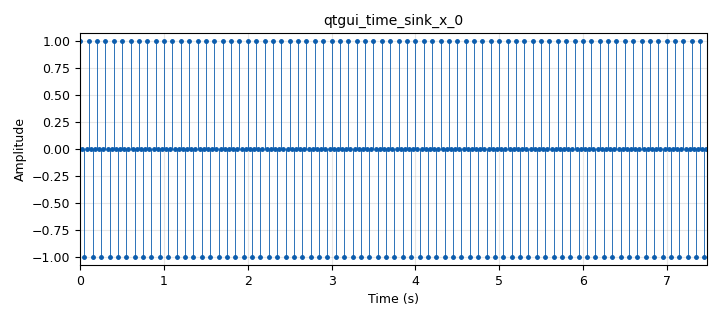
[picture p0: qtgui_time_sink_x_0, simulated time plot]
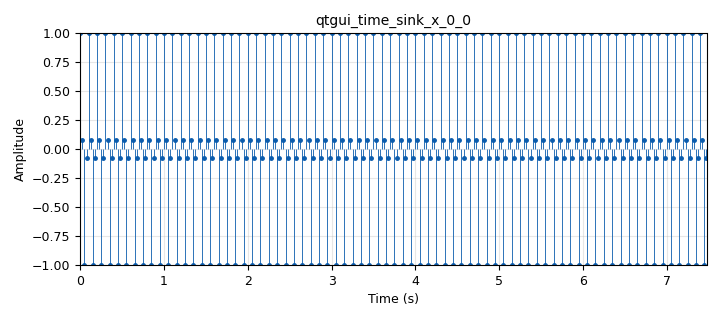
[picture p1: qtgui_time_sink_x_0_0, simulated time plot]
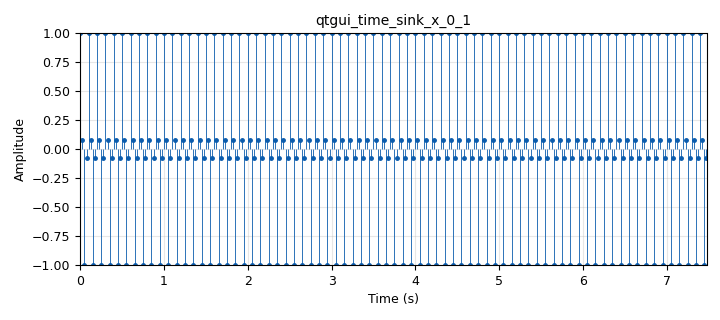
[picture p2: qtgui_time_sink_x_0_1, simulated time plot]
options:
  parameters:
    generate_options: qt_gui
    id: actividad_1
    output_language: python
    title: Not titled yet
  states: {}

blocks:
- name: samp_rate
  id: variable
  parameters:
    value: '40'
  states: {}
- name: analog_sig_source_x_0
  id: analog_sig_source_x
  parameters:
    amp: '1'
    freq: '10'
    offset: '0'
    phase: '0'
    samp_rate: samp_rate
    type: float
    waveform: analog.GR_COS_WAVE
  states: {}
- name: analog_sig_source_x_0_0
  id: analog_sig_source_x
  parameters:
    amp: '1'
    freq: '50'
    offset: '0'
    phase: '0'
    samp_rate: samp_rate
    type: float
    waveform: analog.GR_COS_WAVE
  states: {}
- name: analog_sig_source_x_0_1
  id: analog_sig_source_x
  parameters:
    amp: '1'
    freq: '90'
    offset: '0'
    phase: '0'
    samp_rate: samp_rate
    type: float
    waveform: analog.GR_COS_WAVE
  states: {}
- name: blocks_throttle2_0
  id: blocks_throttle2
  parameters:
    samples_per_second: '4000'
    type: float
  states: {}
- name: blocks_throttle2_0_0
  id: blocks_throttle2
  parameters:
    samples_per_second: '4000'
    type: float
  states: {}
- name: blocks_throttle2_0_1
  id: blocks_throttle2
  parameters:
    samples_per_second: '4000'
    type: float
  states: {}
- name: qtgui_time_sink_x_0
  id: qtgui_time_sink_x
  parameters:
    grid: 'True'
    size: '300'
    srate: samp_rate
    stemplot: 'True'
    type: float
  states: {}
- name: qtgui_time_sink_x_0_0
  id: qtgui_time_sink_x
  parameters:
    grid: 'True'
    size: '300'
    srate: samp_rate
    stemplot: 'True'
    type: float
  states: {}
- name: qtgui_time_sink_x_0_1
  id: qtgui_time_sink_x
  parameters:
    grid: 'True'
    size: '300'
    srate: samp_rate
    stemplot: 'True'
    type: float
  states: {}

connections:
- [analog_sig_source_x_0, '0', blocks_throttle2_0, '0']
- [analog_sig_source_x_0_0, '0', blocks_throttle2_0_0, '0']
- [analog_sig_source_x_0_1, '0', blocks_throttle2_0_1, '0']
- [blocks_throttle2_0, '0', qtgui_time_sink_x_0, '0']
- [blocks_throttle2_0_0, '0', qtgui_time_sink_x_0_0, '0']
- [blocks_throttle2_0_1, '0', qtgui_time_sink_x_0_1, '0']

metadata:
  file_format: 1
  grc_version: 3.10.7.0
